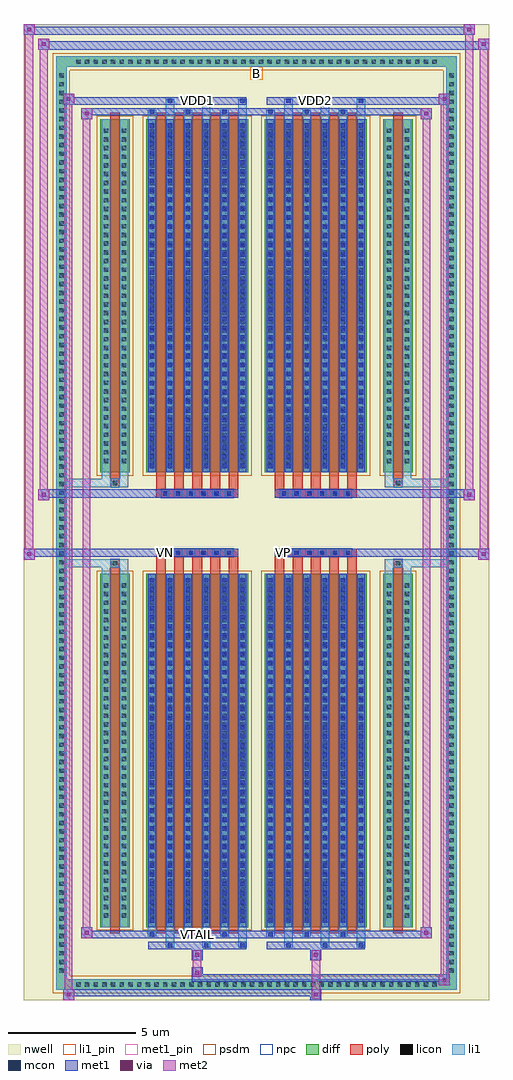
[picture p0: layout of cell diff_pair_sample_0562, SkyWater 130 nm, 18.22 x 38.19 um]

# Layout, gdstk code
import gdstk
lib = gdstk.Library(unit=1e-6, precision=5e-09)
def R(c, l, rs):  # rectangles x0, y0, x1, y1
    for r in rs: c.add(gdstk.rectangle(r[:2], r[2:], *l))
def A(c, l, x, y, w, h, nx, ny, dx, dy):  # array of equal rectangles
    R(c, l, [(x+i*dx, y+j*dy, x+i*dx+w, y+j*dy+h) for i in range(nx) for j in range(ny)])
def P(c, l, *ps):  # polygons
    for p in ps: c.add(gdstk.Polygon(p, *l))
nwell = (64, 20)
diff = (65, 20)
poly = (66, 20)
licon = (66, 44)
li1_pin = (67, 16)
li1 = (67, 20)
mcon = (67, 44)
met1_pin = (68, 16)
met1 = (68, 20)
via = (68, 44)
met2 = (69, 20)
psdm = (94, 20)
npc = (95, 20)

diff_pair_sample_0562 = lib.new_cell('diff_pair_sample_0562')
R(diff_pair_sample_0562, nwell, [(-9.11,-18.66,9.11,19.53), (-6.43,-16.85,-0.01,-0.795), (0.01,-16.85,6.43,-0.795), (-6.43,0.795,-0.01,16.85), (0.01,0.795,6.43,16.85)])
A(diff_pair_sample_0562, diff, -7.175, -18.26, 0.41, 0.41, 42, 2, 0.34, 36.11)
A(diff_pair_sample_0562, diff, -7.84, -17.715, 0.41, 0.41, 1, 104, 0, 0.34)
A(diff_pair_sample_0562, diff, 7.43, -17.715, 0.41, 0.41, 1, 104, 0, 0.34)
R(diff_pair_sample_0562, diff, [(-7.175,-18.26,7.175,-17.85), (-7.84,-17.715,-7.43,17.715), (7.43,-17.715,7.84,17.715), (-6.12,-15.805,-4.96,-1.985), (-4.32,-15.805,-0.32,-1.985), (0.32,-15.805,4.32,-1.985), (4.96,-15.805,6.12,-1.985), (-6.12,1.985,-4.96,15.805), (-4.32,1.985,-0.32,15.805), (0.32,1.985,4.32,15.805), (4.96,1.985,6.12,15.805), (-7.175,17.85,7.175,18.26)])
P(diff_pair_sample_0562, diff, [(7.84,18.26),(-7.84,18.26),(-7.84,-17.85),(-7.43,-17.85),(-7.43,17.85),(7.43,17.85),(7.43,-17.85),(-7.43,-17.85),(-7.84,-17.85),(-7.84,-18.26),(7.84,-18.26)])
A(diff_pair_sample_0562, poly, -3.93, -16.055, 0.38, 14.32, 5, 2, 0.71, 17.79)
A(diff_pair_sample_0562, poly, 0.71, -16.055, 0.38, 14.32, 5, 2, 0.71, 17.79)
A(diff_pair_sample_0562, poly, -3.93, -1.735, 0.38, 0.41, 5, 2, 0.71, 3.06)
A(diff_pair_sample_0562, poly, 0.71, -1.735, 0.38, 0.41, 5, 2, 0.71, 3.06)
A(diff_pair_sample_0562, poly, -3.735, -1.325, 0.33, 0.33, 6, 2, 0.5, 2.32)
A(diff_pair_sample_0562, poly, 0.905, -1.325, 0.33, 0.33, 6, 2, 0.5, 2.32)
R(diff_pair_sample_0562, poly, [(-5.73,-16.055,-5.35,-1.735), (5.35,-16.055,5.73,-1.735), (-5.705,-1.735,-5.375,-1.405), (-5.705,-1.735,-5.375,-1.405), (5.375,-1.735,5.705,-1.405), (5.375,-1.735,5.705,-1.405), (-3.93,-1.325,-0.71,-0.995), (0.71,-1.325,3.93,-0.995), (-3.93,0.995,-0.71,1.325), (0.71,0.995,3.93,1.325), (-5.705,1.405,-5.375,1.735), (-5.705,1.405,-5.375,1.735), (5.375,1.405,5.705,1.735), (5.375,1.405,5.705,1.735), (-5.73,1.735,-5.35,16.055), (5.35,1.735,5.73,16.055)])
A(diff_pair_sample_0562, licon, -7.055, -18.14, 0.17, 0.17, 42, 2, 0.34, 36.11)
A(diff_pair_sample_0562, licon, -7.72, -17.595, 0.17, 0.17, 1, 104, 0, 0.34)
A(diff_pair_sample_0562, licon, 7.55, -17.595, 0.17, 0.17, 1, 104, 0, 0.34)
A(diff_pair_sample_0562, licon, -5.98, -15.44, 0.17, 0.17, 1, 39, 0, 0.34)
A(diff_pair_sample_0562, licon, -5.27, -15.44, 0.17, 0.17, 1, 39, 0, 0.34)
A(diff_pair_sample_0562, licon, -4.18, -15.44, 0.17, 0.17, 6, 39, 0.71, 0.34)
A(diff_pair_sample_0562, licon, 0.46, -15.44, 0.17, 0.17, 6, 39, 0.71, 0.34)
A(diff_pair_sample_0562, licon, 5.1, -15.44, 0.17, 0.17, 1, 39, 0, 0.34)
A(diff_pair_sample_0562, licon, 5.81, -15.44, 0.17, 0.17, 1, 39, 0, 0.34)
A(diff_pair_sample_0562, licon, -3.655, -1.245, 0.17, 0.17, 6, 2, 0.5, 2.32)
A(diff_pair_sample_0562, licon, 0.985, -1.245, 0.17, 0.17, 6, 2, 0.5, 2.32)
A(diff_pair_sample_0562, licon, -5.98, 2.35, 0.17, 0.17, 1, 39, 0, 0.34)
A(diff_pair_sample_0562, licon, -5.27, 2.35, 0.17, 0.17, 1, 39, 0, 0.34)
A(diff_pair_sample_0562, licon, -4.18, 2.35, 0.17, 0.17, 6, 39, 0.71, 0.34)
A(diff_pair_sample_0562, licon, 0.46, 2.35, 0.17, 0.17, 6, 39, 0.71, 0.34)
A(diff_pair_sample_0562, licon, 5.1, 2.35, 0.17, 0.17, 1, 39, 0, 0.34)
A(diff_pair_sample_0562, licon, 5.81, 2.35, 0.17, 0.17, 1, 39, 0, 0.34)
R(diff_pair_sample_0562, licon, [(-5.625,-1.655,-5.455,-1.485), (5.455,-1.655,5.625,-1.485), (-5.625,1.485,-5.455,1.655), (5.455,1.485,5.625,1.655)])
R(diff_pair_sample_0562, li1_pin, [(-0.25,17.35,0.25,17.85)])
A(diff_pair_sample_0562, li1, -7.135, -18.22, 0.33, 0.33, 42, 2, 0.34, 36.11)
A(diff_pair_sample_0562, li1, -7.8, -17.675, 0.33, 0.33, 1, 104, 0, 0.34)
A(diff_pair_sample_0562, li1, 7.47, -17.675, 0.33, 0.33, 1, 104, 0, 0.34)
A(diff_pair_sample_0562, li1, -3.55, -16.61, 0.33, 0.805, 3, 2, 1.42, 32.415)
A(diff_pair_sample_0562, li1, -3.47, -16.61, 0.17, 0.17, 3, 2, 1.42, 33.05)
A(diff_pair_sample_0562, li1, 1.09, -16.61, 0.33, 0.805, 3, 2, 1.42, 32.415)
A(diff_pair_sample_0562, li1, 1.17, -16.61, 0.17, 0.17, 3, 2, 1.42, 33.05)
A(diff_pair_sample_0562, li1, -4.26, -16.18, 0.33, 0.375, 3, 2, 1.42, 31.985)
A(diff_pair_sample_0562, li1, -4.18, -16.18, 0.17, 0.17, 3, 2, 1.42, 32.19)
A(diff_pair_sample_0562, li1, 0.38, -16.18, 0.33, 0.375, 3, 2, 1.42, 31.985)
A(diff_pair_sample_0562, li1, 0.46, -16.18, 0.17, 0.17, 3, 2, 1.42, 32.19)
A(diff_pair_sample_0562, li1, -4.26, -15.805, 0.33, 13.82, 6, 2, 0.71, 17.79)
A(diff_pair_sample_0562, li1, 0.38, -15.805, 0.33, 13.82, 6, 2, 0.71, 17.79)
A(diff_pair_sample_0562, li1, -4.18, -15.64, 0.17, 0.17, 6, 38, 0.71, 0.36)
A(diff_pair_sample_0562, li1, -4.18, -15.64, 0.17, 13.49, 6, 2, 0.71, 17.79)
A(diff_pair_sample_0562, li1, 0.46, -15.64, 0.17, 0.17, 6, 38, 0.71, 0.36)
A(diff_pair_sample_0562, li1, 0.46, -15.64, 0.17, 13.49, 6, 2, 0.71, 17.79)
A(diff_pair_sample_0562, li1, -6.06, -15.52, 0.33, 0.33, 1, 39, 0, 0.34)
A(diff_pair_sample_0562, li1, -5.35, -15.52, 0.33, 0.33, 1, 39, 0, 0.34)
A(diff_pair_sample_0562, li1, -4.26, -15.52, 0.33, 0.33, 6, 39, 0.71, 0.34)
A(diff_pair_sample_0562, li1, 0.38, -15.52, 0.33, 0.33, 6, 39, 0.71, 0.34)
A(diff_pair_sample_0562, li1, 5.02, -15.52, 0.33, 0.33, 1, 39, 0, 0.34)
A(diff_pair_sample_0562, li1, 5.73, -15.52, 0.33, 0.33, 1, 39, 0, 0.34)
A(diff_pair_sample_0562, li1, -3.735, -1.325, 0.33, 0.33, 6, 2, 0.5, 2.32)
A(diff_pair_sample_0562, li1, 0.905, -1.325, 0.33, 0.33, 6, 2, 0.5, 2.32)
A(diff_pair_sample_0562, li1, -4.18, 2.15, 0.17, 0.17, 6, 38, 0.71, 0.36)
A(diff_pair_sample_0562, li1, 0.46, 2.15, 0.17, 0.17, 6, 38, 0.71, 0.36)
A(diff_pair_sample_0562, li1, -6.06, 2.27, 0.33, 0.33, 1, 39, 0, 0.34)
A(diff_pair_sample_0562, li1, -5.35, 2.27, 0.33, 0.33, 1, 39, 0, 0.34)
A(diff_pair_sample_0562, li1, -4.26, 2.27, 0.33, 0.33, 6, 39, 0.71, 0.34)
A(diff_pair_sample_0562, li1, 0.38, 2.27, 0.33, 0.33, 6, 39, 0.71, 0.34)
A(diff_pair_sample_0562, li1, 5.02, 2.27, 0.33, 0.33, 1, 39, 0, 0.34)
A(diff_pair_sample_0562, li1, 5.73, 2.27, 0.33, 0.33, 1, 39, 0, 0.34)
R(diff_pair_sample_0562, li1, [(-7.84,-18.26,-7.43,-17.85), (-7.84,-18.26,-7.43,-17.85), (-7.43,-18.26,7.43,-17.85), (7.43,-18.26,7.84,-17.85), (7.43,-18.26,7.84,-17.85), (-7.84,-17.85,-7.43,17.85), (7.43,-17.85,7.84,17.85), (-6.06,-15.805,-5.73,-1.985), (-5.35,-15.805,-5.02,-1.985), (5.02,-15.805,5.35,-1.985), (5.73,-15.805,6.06,-1.985), (-6.06,-1.985,-5.73,-1.405), (-5.35,-1.985,-5.02,-1.405), (5.02,-1.985,5.35,-1.405), (5.73,-1.985,6.06,-1.405), (-7.84,-1.735,-5.705,-1.405), (-6.06,-1.735,-5.705,-1.405), (-5.705,-1.735,-5.375,-1.405), (-5.375,-1.735,-5.02,-1.405), (5.02,-1.735,5.375,-1.405), (5.375,-1.735,5.705,-1.405), (5.375,-1.735,7.84,-1.405), (5.705,-1.735,6.06,-1.405), (-7.84,1.405,-5.705,1.735), (-6.06,1.405,-5.705,1.735), (-6.06,1.405,-5.73,1.985), (-5.705,1.405,-5.375,1.735), (-5.375,1.405,-5.02,1.735), (-5.35,1.405,-5.02,1.985), (5.02,1.405,5.375,1.735), (5.02,1.405,5.35,1.985), (5.375,1.405,5.705,1.735), (5.375,1.405,7.84,1.735), (5.705,1.405,6.06,1.735), (5.73,1.405,6.06,1.985), (-6.06,1.985,-5.73,15.805), (-5.35,1.985,-5.02,15.805), (5.02,1.985,5.35,15.805), (5.73,1.985,6.06,15.805), (-7.84,17.85,-7.43,18.26), (-7.84,17.85,-7.43,18.26), (-7.43,17.85,7.43,18.26), (7.43,17.85,7.84,18.26), (7.43,17.85,7.84,18.26)])
A(diff_pair_sample_0562, mcon, -3.47, -16.61, 0.17, 0.17, 3, 2, 1.42, 33.05)
A(diff_pair_sample_0562, mcon, 1.17, -16.61, 0.17, 0.17, 3, 2, 1.42, 33.05)
A(diff_pair_sample_0562, mcon, -4.18, -16.18, 0.17, 0.17, 3, 2, 1.42, 32.19)
A(diff_pair_sample_0562, mcon, 0.46, -16.18, 0.17, 0.17, 3, 2, 1.42, 32.19)
A(diff_pair_sample_0562, mcon, -4.18, -15.64, 0.17, 0.17, 6, 38, 0.71, 0.36)
A(diff_pair_sample_0562, mcon, 0.46, -15.64, 0.17, 0.17, 6, 38, 0.71, 0.36)
A(diff_pair_sample_0562, mcon, -3.655, -1.245, 0.17, 0.17, 6, 2, 0.5, 2.32)
A(diff_pair_sample_0562, mcon, 0.985, -1.245, 0.17, 0.17, 6, 2, 0.5, 2.32)
A(diff_pair_sample_0562, mcon, -4.18, 2.15, 0.17, 0.17, 6, 38, 0.71, 0.36)
A(diff_pair_sample_0562, mcon, 0.46, 2.15, 0.17, 0.17, 6, 38, 0.71, 0.36)
R(diff_pair_sample_0562, met1_pin, [(-2.455,-16.22,-2.185,-15.95), (-3.705,-1.285,-3.435,-1.015), (0.935,-1.285,1.205,-1.015), (-2.455,16.4,-2.185,16.67), (2.185,16.4,2.455,16.67)])
A(diff_pair_sample_0562, met1, -3.53, -16.67, 0.29, 0.29, 3, 2, 1.42, 33.05)
A(diff_pair_sample_0562, met1, 1.11, -16.67, 0.29, 0.29, 3, 2, 1.42, 33.05)
A(diff_pair_sample_0562, met1, -4.24, -16.24, 0.29, 0.29, 3, 2, 1.42, 32.19)
A(diff_pair_sample_0562, met1, 0.4, -16.24, 0.29, 0.29, 3, 2, 1.42, 32.19)
A(diff_pair_sample_0562, met1, -4.24, -15.805, 0.29, 13.82, 6, 2, 0.71, 17.79)
A(diff_pair_sample_0562, met1, 0.4, -15.805, 0.29, 13.82, 6, 2, 0.71, 17.79)
A(diff_pair_sample_0562, met1, -4.24, -15.7, 0.29, 0.29, 6, 38, 0.71, 0.36)
A(diff_pair_sample_0562, met1, 0.4, -15.7, 0.29, 0.29, 6, 38, 0.71, 0.36)
A(diff_pair_sample_0562, met1, -3.715, -1.305, 0.29, 0.29, 6, 2, 0.5, 2.32)
A(diff_pair_sample_0562, met1, 0.925, -1.305, 0.29, 0.29, 6, 2, 0.5, 2.32)
A(diff_pair_sample_0562, met1, -4.24, 2.09, 0.29, 0.29, 6, 38, 0.71, 0.36)
A(diff_pair_sample_0562, met1, 0.4, 2.09, 0.29, 0.29, 6, 38, 0.71, 0.36)
R(diff_pair_sample_0562, met1, [(-7.57,-18.66,-7.14,-18.23), (2.105,-18.66,2.535,-18.23), (-7.57,-18.52,2.535,-18.23), (7.14,-18.09,7.57,-17.66), (-2.535,-17.95,7.57,-17.66), (-2.535,-17.81,-2.105,-17.38), (-2.535,-17.1,-2.105,-16.67), (2.105,-17.1,2.535,-16.67), (-4.24,-16.67,-0.4,-16.38), (0.4,-16.67,4.24,-16.38), (-6.86,-16.24,-6.43,-15.81), (-6.86,-16.24,-4.24,-15.95), (-4.24,-16.24,-0.4,-15.95), (-0.4,-16.24,0.4,-15.95), (0.4,-16.24,4.24,-15.95), (4.24,-16.24,6.86,-15.95), (6.43,-16.24,6.86,-15.81), (-9.11,-1.425,-8.68,-0.995), (8.68,-1.425,9.11,-0.995), (-9.11,-1.325,-0.71,-0.995), (-3.93,-1.325,-0.71,-0.995), (0.71,-1.325,3.93,-0.995), (0.71,-1.325,9.11,-0.995), (-8.54,0.895,-8.11,1.325), (8.11,0.895,8.54,1.325), (-8.54,0.995,-3.93,1.325), (-3.93,0.995,-0.71,1.325), (0.71,0.995,3.93,1.325), (3.93,0.995,8.54,1.325), (-6.86,15.81,-6.43,16.24), (6.43,15.81,6.86,16.24), (-6.86,15.95,-4.24,16.24), (-4.24,15.95,-0.4,16.24), (-0.4,15.95,0.4,16.24), (0.4,15.95,4.24,16.24), (4.24,15.95,6.86,16.24), (-7.57,16.38,-7.14,16.81), (-7.57,16.38,-4.24,16.67), (-4.24,16.38,-0.4,16.67), (0.4,16.38,4.24,16.67), (4.24,16.38,7.57,16.67), (7.14,16.38,7.57,16.81), (-8.54,18.53,-8.11,18.96), (-8.54,18.53,-6.43,18.86), (-6.43,18.53,6.43,18.86), (6.43,18.53,9.11,18.86), (8.68,18.53,9.11,18.96), (-9.11,19.1,-8.68,19.53), (-9.11,19.1,-6.43,19.43), (-6.43,19.1,6.43,19.43), (6.43,19.1,8.54,19.43), (8.11,19.1,8.54,19.53)])
R(diff_pair_sample_0562, via, [(-7.43,-18.52,-7.28,-18.37), (2.245,-18.52,2.395,-18.37), (7.28,-17.95,7.43,-17.8), (-2.395,-17.67,-2.245,-17.52), (-2.395,-16.96,-2.245,-16.81), (2.245,-16.96,2.395,-16.81), (-6.72,-16.1,-6.57,-15.95), (6.57,-16.1,6.72,-15.95), (-8.97,-1.285,-8.82,-1.135), (8.82,-1.285,8.97,-1.135), (-8.4,1.035,-8.25,1.185), (8.25,1.035,8.4,1.185), (-6.72,15.95,-6.57,16.1), (6.57,15.95,6.72,16.1), (-7.43,16.52,-7.28,16.67), (7.28,16.52,7.43,16.67), (-8.4,18.67,-8.25,18.82), (8.82,18.67,8.97,18.82), (-8.97,19.24,-8.82,19.39), (8.25,19.24,8.4,19.39)])
R(diff_pair_sample_0562, met2, [(-7.57,-18.66,-7.14,-18.23), (-7.5,-18.66,-7.21,16.81), (-7.21,-18.66,-7.14,-18.23), (-7.52,-18.61,-7.19,-18.28), (2.155,-18.61,2.485,-18.28), (2.155,-18.28,2.485,-17.05), (7.14,-18.09,7.57,-17.66), (7.21,-18.09,7.5,16.81), (7.5,-18.09,7.57,-17.66), (7.19,-18.04,7.52,-17.71), (-2.485,-17.76,-2.155,-17.43), (-2.485,-17.43,-2.155,-17.05), (-2.485,-17.05,-2.155,-16.72), (2.155,-17.05,2.485,-16.72), (-6.86,-16.24,-6.43,-15.81), (-6.79,-16.24,-6.5,16.24), (-6.5,-16.24,-6.43,-15.81), (6.43,-16.24,6.86,-15.81), (6.5,-16.24,6.79,16.24), (6.79,-16.24,6.86,-15.81), (-6.81,-16.19,-6.48,-15.86), (6.48,-16.19,6.81,-15.86), (-9.11,-1.425,-8.68,-0.995), (-9.06,-1.425,-8.73,19.53), (-8.73,-1.425,-8.68,-0.995), (8.68,-1.425,9.11,-0.995), (8.73,-1.425,9.06,18.96), (9.06,-1.425,9.11,-0.995), (-9.06,-1.375,-8.73,-1.045), (8.73,-1.375,9.06,-1.045), (-8.54,0.895,-8.11,1.325), (-8.49,0.895,-8.16,18.96), (-8.16,0.895,-8.11,1.325), (8.11,0.895,8.54,1.325), (8.16,0.895,8.49,19.53), (8.49,0.895,8.54,1.325), (-8.49,0.945,-8.16,1.275), (8.16,0.945,8.49,1.275), (-6.86,15.81,-6.43,16.24), (-6.5,15.81,-6.43,16.24), (6.43,15.81,6.86,16.24), (6.79,15.81,6.86,16.24), (-6.81,15.86,-6.48,16.19), (6.48,15.86,6.81,16.19), (-7.57,16.38,-7.14,16.81), (-7.21,16.38,-7.14,16.81), (7.14,16.38,7.57,16.81), (7.5,16.38,7.57,16.81), (-7.52,16.43,-7.19,16.76), (7.19,16.43,7.52,16.76), (-8.54,18.53,-8.11,18.96), (-8.16,18.53,-8.11,18.96), (8.68,18.53,9.11,18.96), (9.06,18.53,9.11,18.96), (-8.49,18.58,-8.16,18.91), (8.73,18.58,9.06,18.91), (-9.11,19.1,-8.68,19.53), (-8.73,19.1,-8.68,19.53), (8.11,19.1,8.54,19.53), (8.49,19.1,8.54,19.53), (-9.06,19.15,-8.73,19.48), (8.16,19.15,8.49,19.48)])
R(diff_pair_sample_0562, psdm, [(-6.25,-15.935,-4.83,-1.855), (-4.45,-15.935,-0.19,-1.855), (0.19,-15.935,4.45,-1.855), (4.83,-15.935,6.25,-1.855), (-6.25,1.855,-4.83,15.935), (-4.45,1.855,-0.19,15.935), (0.19,1.855,4.45,15.935), (4.83,1.855,6.25,15.935)])
P(diff_pair_sample_0562, psdm, [(7.97,18.39),(-7.97,18.39),(-7.97,-17.72),(-7.3,-17.72),(-7.3,17.72),(7.3,17.72),(7.3,-17.72),(-7.3,-17.72),(-7.97,-17.72),(-7.97,-18.39),(7.97,-18.39)])
A(diff_pair_sample_0562, npc, -3.755, -1.345, 0.37, 0.37, 6, 2, 0.5, 2.32)
A(diff_pair_sample_0562, npc, 0.885, -1.345, 0.37, 0.37, 6, 2, 0.5, 2.32)
R(diff_pair_sample_0562, npc, [(-5.725,-1.755,-5.355,-1.385), (5.355,-1.755,5.725,-1.385), (-3.755,-1.345,-2.885,-0.975), (-3.755,-1.345,-2.885,-0.975), (-3.255,-1.345,-2.385,-0.975), (-3.255,-1.345,-2.385,-0.975), (-2.755,-1.345,-1.885,-0.975), (-2.755,-1.345,-1.885,-0.975), (-2.255,-1.345,-1.385,-0.975), (-2.255,-1.345,-1.385,-0.975), (-1.755,-1.345,-0.885,-0.975), (-1.755,-1.345,-0.885,-0.975), (0.885,-1.345,1.755,-0.975), (0.885,-1.345,1.755,-0.975), (1.385,-1.345,2.255,-0.975), (1.385,-1.345,2.255,-0.975), (1.885,-1.345,2.755,-0.975), (1.885,-1.345,2.755,-0.975), (2.385,-1.345,3.255,-0.975), (2.385,-1.345,3.255,-0.975), (2.885,-1.345,3.755,-0.975), (2.885,-1.345,3.755,-0.975), (-3.755,0.975,-2.885,1.345), (-3.755,0.975,-2.885,1.345), (-3.255,0.975,-2.385,1.345), (-3.255,0.975,-2.385,1.345), (-2.755,0.975,-1.885,1.345), (-2.755,0.975,-1.885,1.345), (-2.255,0.975,-1.385,1.345), (-2.255,0.975,-1.385,1.345), (-1.755,0.975,-0.885,1.345), (-1.755,0.975,-0.885,1.345), (0.885,0.975,1.755,1.345), (0.885,0.975,1.755,1.345), (1.385,0.975,2.255,1.345), (1.385,0.975,2.255,1.345), (1.885,0.975,2.755,1.345), (1.885,0.975,2.755,1.345), (2.385,0.975,3.255,1.345), (2.385,0.975,3.255,1.345), (2.885,0.975,3.755,1.345), (2.885,0.975,3.755,1.345), (-5.725,1.385,-5.355,1.755), (5.355,1.385,5.725,1.755)])
diff_pair_sample_0562.add(gdstk.Label('VTAIL', (-2.32,-16.085), layer=68, texttype=5))
diff_pair_sample_0562.add(gdstk.Label('VN', (-3.57,-1.15), layer=68, texttype=5))
diff_pair_sample_0562.add(gdstk.Label('VP', (1.07,-1.15), layer=68, texttype=5))
diff_pair_sample_0562.add(gdstk.Label('B', (0,17.6), layer=67, texttype=5))
diff_pair_sample_0562.add(gdstk.Label('VDD2', (2.32,16.535), layer=68, texttype=5))
diff_pair_sample_0562.add(gdstk.Label('VDD1', (-2.32,16.535), layer=68, texttype=5))

lib.write_gds('diff_pair_sample_0562.gds')
